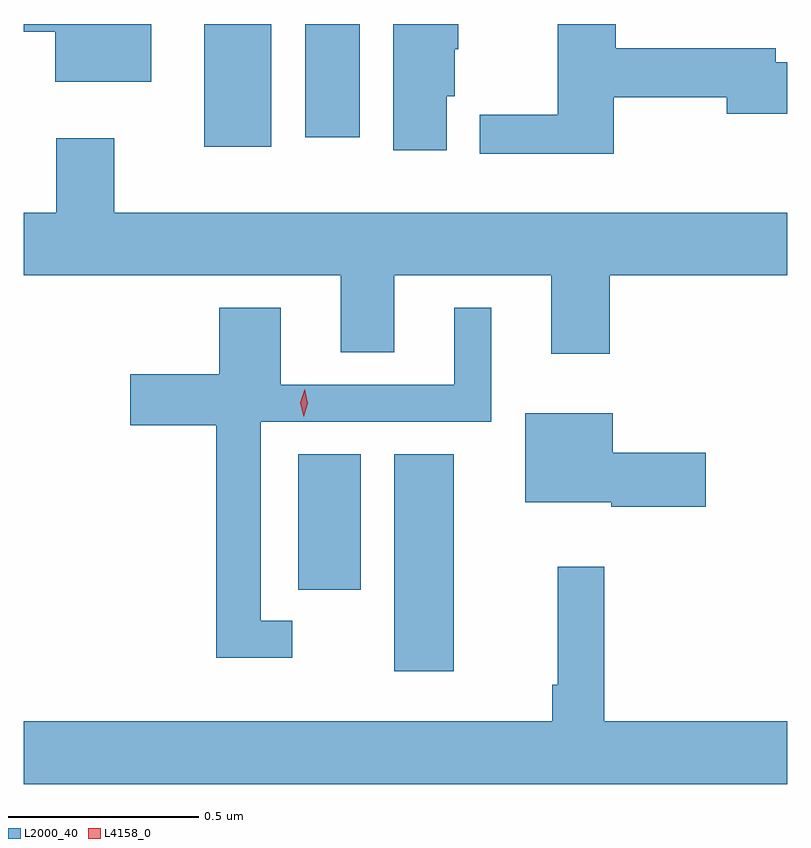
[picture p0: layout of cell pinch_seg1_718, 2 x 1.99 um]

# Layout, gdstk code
import gdstk
lib = gdstk.Library(unit=1e-6, precision=1e-09)
def R(c, l, rs):  # rectangles x0, y0, x1, y1
    for r in rs: c.add(gdstk.rectangle(r[:2], r[2:], *l))
def P(c, l, *ps):  # polygons
    for p in ps: c.add(gdstk.Polygon(p, *l))
L2000_40 = (2000, 40)
L4158_0 = (4158, 0)

pinch_seg1_718 = lib.new_cell('pinch_seg1_718')
R(pinch_seg1_718, L2000_40, [(733.016,576.003,733.171,576.572), (732.764,576.216,732.928,576.572), (732.518,577.376,732.694,577.698), (732.782,577.401,732.925,577.698)])
P(pinch_seg1_718, L2000_40, [(733.153,577.509),(733.174,577.509),(733.174,577.632),(733.183,577.632),(733.183,577.698),(733.013,577.698),(733.013,577.368),(733.153,577.368)],
  [(733.59,577.506),(733.886,577.506),(733.886,577.463),(734.045,577.463),(734.045,577.598),(734.014,577.598),(734.014,577.634),(733.595,577.634),(733.595,577.698),(733.444,577.698),(733.444,577.46),(733.239,577.46),(733.239,577.358),(733.59,577.358)],
  [(732.379,577.698),(732.045,577.698),(732.045,577.678),(732.128,577.678),(732.128,577.547),(732.379,577.547)],
  [(733.58,577.04),(734.045,577.04),(734.045,577.204),(732.283,577.204),(732.283,577.399),(732.131,577.399),(732.131,577.204),(732.045,577.204),(732.045,577.04),(732.875,577.04),(732.875,576.838),(733.015,576.838),(733.015,577.04),(733.427,577.04),(733.427,576.834),(733.58,576.834)],
  [(732.748,576.135),(732.666,576.135),(732.666,576.657),(733.27,576.657),(733.27,576.955),(733.172,576.955),(733.172,576.753),(732.718,576.753),(732.718,576.955),(732.557,576.955),(732.557,576.781),(732.324,576.781),(732.324,576.647),(732.55,576.647),(732.55,576.038),(732.748,576.038)],
  [(733.831,576.576),(733.588,576.576),(733.588,576.679),(733.358,576.679),(733.358,576.446),(733.584,576.446),(733.584,576.434),(733.831,576.434)],
  [(734.045,575.872),(733.565,575.872),(733.565,576.277),(733.444,576.277),(733.444,575.968),(733.429,575.968),(733.429,575.872),(732.045,575.872),(732.045,575.708),(734.045,575.708)])
P(pinch_seg1_718, L4158_0, [(732.778,576.669),(732.778,576.669),(732.769,576.706),(732.781,576.741),(732.781,576.741),(732.781,576.741),(732.789,576.705),(732.778,576.669)])

lib.write_gds('pinch_seg1_718.gds')
